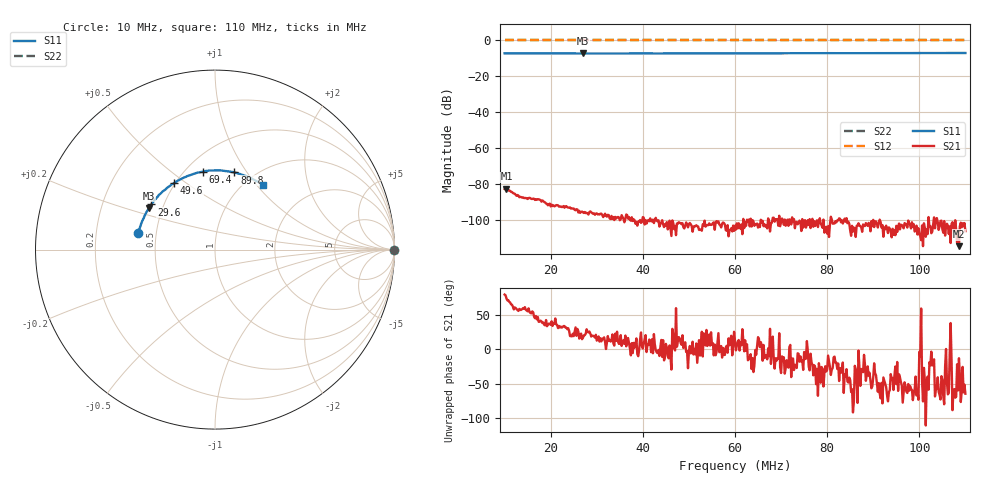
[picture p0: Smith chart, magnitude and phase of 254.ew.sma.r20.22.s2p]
! Anritsu VNA Master:  Model: MS2036C/10/77
! SN:  1601066
! /card0/usr/254.ew.sma.r20.22.s2p
! Existing Calibration Information:
! TYPE:  Current Settings,  Active Cal Settings
! TIME:  12/20/2017 01:08:24 PM,  12/20/2017 12:55:07 PM
! INTERNAL TEMP:  44.3 C,  44.3 C
! # POINTS:  501,  501
! START FREQ:  10.000 MHz,  10.000 MHz
! STOP FREQ:  110.000 MHz,  110.000 MHz
! SOURCE POWER:  High,  High
! IFBW:  100 Hz,  100 Hz
! AVG FACTOR:  1 ,  1
! REF PLANE 1:  0 mm,  0 mm
! REF PLANE 2:  0 mm,  0 mm
! CAL TYPE:  Full S11,  Full S11
! CAL METHOD:  SOLT,  SOLT
! CAL LINE TYPE:  Coax,  Coax
! DUT PORT 1:  N-Conn(F),  N-Conn(F)
! DUT PORT 2:  K-Conn(F),  K-Conn(F)
! CAL STATUS:  OK: Accuracy High,  --
# GHZ S DB R 50.0
! FREQ.GHZ  S11DB  S11A  S21DB  S21A  S12DB  S12A  S22DB  S22A
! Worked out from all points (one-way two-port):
!   501 points, 10 MHz to 110 MHz, reference 50 ohm
!   highest |S21| = -82.55 dB at 10.4 MHz (marker M1); lowest = -114.5 dB at 108.6 MHz (marker M2)
!   lowest |S11| = -7.3 dB at 27 MHz (marker M3), VSWR 2.53, Z = 21.1 + j12 ohm
!   |S11| at or under -10 dB: nowhere
!   |S22| runs from 0.0 to 0.0 dB; largest |S21 - S12| = 1
!   S11 on the Smith chart (normalised r, x): 10 MHz: 0.40, +0.09; 29.6 MHz: 0.43, +0.26; 49.6 MHz: 0.49, +0.45; 69.4 MHz: 0.61, +0.66; 89.8 MHz: 0.82, +0.88; 110 MHz: 1.20, +1.08
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0.01  -7.19 167.9  -82.69 80.5  0.00 0.0  0.00 0.0
0.0104  -7.18 167.5  -82.55 74.9  0.00 0.0  0.00 0.0
0.0176  -7.22 158.8  -88.58 40.9  0.00 0.0  0.00 0.0
0.0268  -7.25 148.0  -95.25 15.0  0.00 0.0  0.00 0.0
0.027  -7.26 147.7  -95.64 17.2  0.00 0.0  0.00 0.0
0.0296  -7.23 144.7  -97.03 17.5  0.00 0.0  0.00 0.0
0.0374  -7.21 135.6  -100.34 -8.5  0.00 0.0  0.00 0.0
0.0434  -7.23 128.5  -100.07 -0.6  0.00 0.0  0.00 0.0
0.0496  -7.24 121.4  -102.52 -2.4  0.00 0.0  0.00 0.0
0.055  -7.19 115.0  -102.54 7.0  0.00 0.0  0.00 0.0
0.06  -7.19 109.4  -103.12 11.6  0.00 0.0  0.00 0.0
0.0648  -7.14 103.9  -101.95 5.0  0.00 0.0  0.00 0.0
0.0694  -7.14 98.6  -103.14 -13.7  0.00 0.0  0.00 0.0
0.0734  -7.10 94.3  -100.99 -27.1  0.00 0.0  0.00 0.0
0.0768  -7.10 90.5  -99.28 -22.6  0.00 0.0  0.00 0.0
0.0812  -7.08 85.7  -101.99 -27.2  0.00 0.0  0.00 0.0
0.0898  -7.06 75.9  -103.39 -54.0  0.00 0.0  0.00 0.0
0.0934  -7.06 71.8  -104.04 -62.6  0.00 0.0  0.00 0.0
0.1002  -7.01 64.3  -108.86 -10.9  0.00 0.0  0.00 0.0
0.1064  -6.99 57.2  -107.77 -63.8  0.00 0.0  0.00 0.0
0.1086  -6.98 55.1  -114.51 -12.8  0.00 0.0  0.00 0.0
0.11  -6.99 53.6  -106.18 -64.8  0.00 0.0  0.00 0.0
